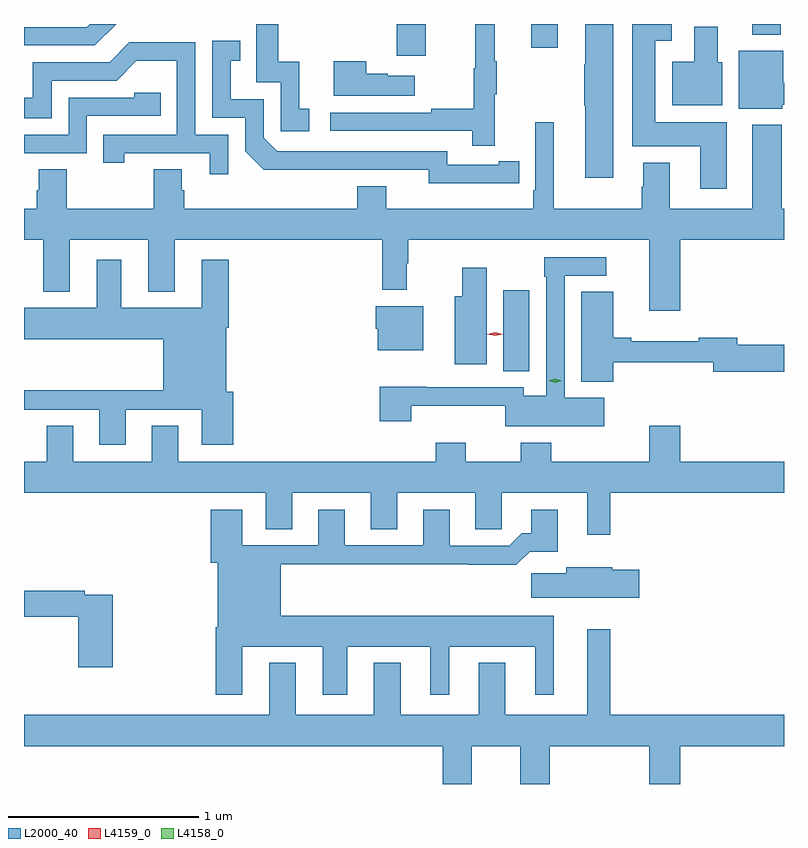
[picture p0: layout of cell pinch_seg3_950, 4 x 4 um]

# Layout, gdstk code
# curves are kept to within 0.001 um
import gdstk
lib = gdstk.Library(unit=1e-6, precision=1e-09)
def R(c, l, rs):  # rectangles x0, y0, x1, y1
    for r in rs: c.add(gdstk.rectangle(r[:2], r[2:], *l))
def P(c, l, *ps):  # polygons
    for p in ps: c.add(gdstk.Polygon(p, *l))
L2000_40 = (2000, 40)
L4158_0 = (4158, 0)
L4159_0 = (4159, 0)

pinch_seg3_950 = lib.new_cell('pinch_seg3_950')
R(pinch_seg3_950, L2000_40, [(415.988,713.545,416.125,713.971), (415.427,715.206,415.579,715.372), (416.135,715.248,416.275,715.372), (417.299,715.316,417.447,715.372)])
P(pinch_seg3_950, L2000_40, [(414.967,714.927),(414.914,714.927),(414.914,715.174),(414.803,715.174),(414.803,715.372),(414.687,715.372),(414.687,715.065),(414.816,715.065),(414.816,714.807),(414.967,714.807)],
  [(413.95,715.372),(413.812,715.372),(413.796,715.356),(413.465,715.356),(413.465,715.26),(413.838,715.26)],
  [(415.943,715.003),(415.954,715.003),(415.954,715.177),(415.943,715.177),(415.943,715.372),(415.84,715.372),(415.84,715.14),(415.833,715.14),(415.833,714.926),(415.609,714.926),(415.609,714.906),(415.077,714.906),(415.077,714.81),(415.825,714.81),(415.825,714.732),(415.943,714.732)],
  [(417.163,714.856),(416.788,714.856),(416.788,715.283),(416.875,715.283),(416.875,715.372),(416.666,715.372),(416.666,714.728),(417.023,714.728),(417.023,714.504),(417.163,714.504)],
  [(416.566,715.372),(416.42,715.372),(416.42,715.16),(416.413,715.16),(416.413,714.943),(416.42,714.943),(416.42,714.564),(416.566,714.564)],
  [(417.139,715.17),(417.115,715.17),(417.115,715.357),(416.993,715.357),(416.993,715.174),(416.876,715.174),(416.876,714.944),(417.139,714.944)],
  [(415.964,714.534),(416.072,714.534),(416.072,714.65),(415.964,714.65),(415.964,714.63),(415.692,714.63),(415.692,714.702),(414.798,714.702),(414.726,714.774),(414.726,714.975),(414.553,714.975),(414.553,715.179),(414.602,715.179),(414.602,715.285),(414.456,715.285),(414.456,714.879),(414.63,714.879),(414.63,714.702),(414.728,714.605),(415.596,714.606),(415.596,714.533)],
  [(414.54,714.789),(414.366,714.789),(414.366,715.275),(414.02,715.275),(413.915,715.17),(413.512,715.17),(413.512,714.985),(413.465,714.985),(413.465,714.876),(413.61,714.876),(413.61,715.074),(413.952,715.074),(414.056,715.178),(414.27,715.178),(414.27,714.789),(413.881,714.789),(413.881,714.642),(413.992,714.642),(413.992,714.693),(414.443,714.693),(414.443,714.582),(414.54,714.582)],
  [(417.456,714.948),(417.465,714.948),(417.465,715.062),(417.46,715.062),(417.46,715.231),(417.227,715.231),(417.227,714.926),(417.456,714.926)],
  [(415.522,715.099),(415.379,715.099),(415.379,715.109),(415.265,715.109),(415.265,715.177),(415.094,715.177),(415.094,714.995),(415.522,714.995)],
  [(413.796,714.888),(414.185,714.888),(414.185,715.011),(414.045,715.011),(414.045,714.984),(413.7,714.984),(413.7,714.789),(413.465,714.789),(413.465,714.693),(413.796,714.693)],
  [(416.92,714.236),(417.465,714.236),(417.465,714.4),(417.452,714.4),(417.452,714.841),(417.299,714.841),(417.299,714.4),(416.863,714.4),(416.863,714.643),(416.723,714.643),(416.723,714.516),(416.716,714.516),(416.716,714.4),(416.254,714.4),(416.254,714.856),(416.157,714.856),(416.157,714.496),(416.144,714.496),(416.144,714.4),(415.372,714.4),(415.372,714.517),(415.22,714.517),(415.22,714.4),(414.308,714.4),(414.308,714.498),(414.295,714.498),(414.295,714.608),(414.148,714.608),(414.148,714.4),(413.691,714.4),(413.691,714.608),(413.543,714.608),(413.543,714.498),(413.531,714.498),(413.531,714.4),(413.465,714.4),(413.465,714.236),(413.567,714.236),(413.567,713.963),(413.707,713.963),(413.707,714.236),(414.119,714.236),(414.119,713.963),(414.259,713.963),(414.259,714.236),(415.351,714.236),(415.351,713.973),(415.48,713.973),(415.48,714.113),(415.487,714.113),(415.487,714.236),(416.756,714.236),(416.756,713.862),(416.92,713.862)],
  [(416.518,713.404),(416.31,713.404),(416.31,714.048),(416.53,714.048),(416.53,714.144),(416.202,714.144),(416.202,714.041),(416.214,714.041),(416.214,713.416),(416.094,713.416),(416.094,713.46),(415.585,713.46),(415.585,713.462),(415.337,713.462),(415.337,713.28),(415.502,713.28),(415.502,713.363),(415.998,713.363),(415.998,713.255),(416.518,713.255)],
  [(414.001,713.343),(414.401,713.343),(414.401,713.157),(414.566,713.157),(414.566,713.436),(414.529,713.436),(414.529,713.774),(414.542,713.774),(414.542,714.13),(414.401,714.13),(414.401,713.878),(413.977,713.878),(413.977,714.13),(413.849,714.13),(413.849,713.878),(413.465,713.878),(413.465,713.714),(414.197,713.714),(414.197,713.444),(413.465,713.444),(413.465,713.343),(413.861,713.343),(413.861,713.157),(414.001,713.157)],
  [(415.9,714.088),(415.771,714.088),(415.771,713.938),(415.733,713.938),(415.733,713.582),(415.9,713.582)],
  [(416.566,713.592),(417.092,713.592),(417.092,713.542),(417.465,713.542),(417.465,713.684),(417.22,713.684),(417.22,713.72),(417.016,713.72),(417.016,713.701),(416.662,713.701),(416.662,713.72),(416.566,713.72),(416.566,713.963),(416.399,713.963),(416.399,713.489),(416.566,713.489)],
  [(415.567,713.887),(415.316,713.887),(415.316,713.769),(415.328,713.769),(415.328,713.654),(415.567,713.654)],
  [(416.551,712.904),(417.465,712.904),(417.465,713.068),(416.92,713.068),(416.92,713.257),(416.756,713.257),(416.756,713.068),(416.24,713.068),(416.24,713.167),(416.08,713.167),(416.08,713.068),(415.791,713.068),(415.791,713.167),(415.631,713.167),(415.631,713.068),(414.277,713.068),(414.277,713.258),(414.137,713.258),(414.137,713.068),(413.725,713.068),(413.725,713.258),(413.585,713.258),(413.585,713.068),(413.465,713.068),(413.465,712.904),(414.737,712.904),(414.737,712.714),(414.877,712.714),(414.877,712.904),(415.289,712.904),(415.289,712.714),(415.429,712.714),(415.429,712.904),(415.841,712.904),(415.841,712.714),(415.98,712.714),(415.98,712.904),(416.429,712.904),(416.429,712.683),(416.551,712.683)],
  [(414.613,712.094),(415.037,712.094),(415.037,711.843),(415.165,711.843),(415.165,712.094),(415.604,712.094),(415.604,711.843),(415.702,711.843),(415.702,712.094),(416.156,712.094),(416.156,711.843),(416.254,711.843),(416.254,712.258),(414.817,712.258),(414.817,712.528),(415.801,712.528),(415.801,712.526),(416.057,712.526),(416.126,712.595),(416.275,712.595),(416.275,712.816),(416.135,712.816),(416.135,712.693),(416.086,712.693),(416.019,712.626),(415.705,712.626),(415.705,712.816),(415.565,712.816),(415.565,712.629),(415.153,712.629),(415.153,712.816),(415.013,712.816),(415.013,712.629),(414.613,712.629),(414.613,712.816),(414.449,712.816),(414.449,712.536),(414.485,712.536),(414.485,712.198),(414.473,712.198),(414.473,711.843),(414.613,711.843)],
  [(416.704,712.5),(416.562,712.5),(416.562,712.513),(416.319,712.513),(416.319,712.481),(416.136,712.481),(416.136,712.352),(416.704,712.352)],
  [(413.933,712.368),(413.786,712.368),(413.786,712.388),(413.465,712.388),(413.465,712.252),(413.75,712.252),(413.75,711.987),(413.933,711.987)],
  [(415.822,711.572),(416.078,711.572),(416.078,711.372),(416.231,711.372),(416.231,711.572),(416.756,711.572),(416.756,711.372),(416.92,711.372),(416.92,711.572),(417.465,711.572),(417.465,711.736),(416.551,711.736),(416.551,712.186),(416.429,712.186),(416.429,711.736),(415.999,711.736),(415.999,712.009),(415.859,712.009),(415.859,711.736),(415.447,711.736),(415.447,712.009),(415.307,712.009),(415.307,711.736),(414.895,711.736),(414.895,712.009),(414.755,712.009),(414.755,711.736),(413.465,711.736),(413.465,711.572),(415.67,711.572),(415.67,711.372),(415.822,711.372)])
P(pinch_seg3_950, L4158_0, [(416.261,713.485),(416.227,713.495),(416.226,713.495),(416.227,713.495),(416.261,713.505),(416.296,713.494),(416.296,713.494),(416.296,713.494)])
P(pinch_seg3_950, L4159_0, [(415.944,713.73),(415.904,713.74),(415.904,713.74),(415.904,713.74),(415.945,713.75),(415.985,713.74),(415.985,713.74),(415.985,713.739)])

lib.write_gds('pinch_seg3_950.gds')
